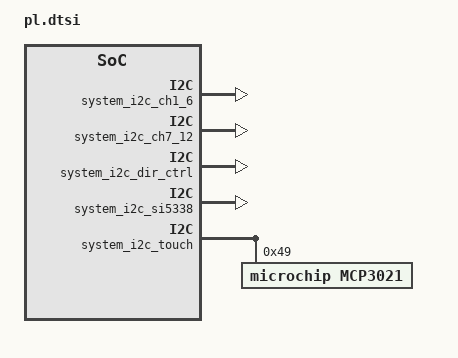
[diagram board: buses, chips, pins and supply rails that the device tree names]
/ {
	amba_pl: amba_pl@0 {
		#address-cells = <2>;
		#size-cells = <2>;
		compatible = "simple-bus";
		ranges ;
		misc_clk_0: misc_clk_0 {
			#clock-cells = <0>;
			clock-frequency = <299997000>;
			compatible = "fixed-clock";
		};
		system_i2c_ch1_6: i2c@80410000 {
			#address-cells = <1>;
			#size-cells = <0>;
			clock-names = "s_axi_aclk";
			clocks = <&misc_clk_0>;
			compatible = "xlnx,axi-iic-2.1", "xlnx,xps-iic-2.00.a";
			interrupt-names = "iic2intc_irpt";
			interrupt-parent = <&gic>;
			interrupts = <0 109 4>;
			reg = <0x0 0x80410000 0x0 0x10000>;
		};
		system_i2c_ch7_12: i2c@80420000 {
			#address-cells = <1>;
			#size-cells = <0>;
			clock-names = "s_axi_aclk";
			clocks = <&misc_clk_0>;
			compatible = "xlnx,axi-iic-2.1", "xlnx,xps-iic-2.00.a";
			interrupt-names = "iic2intc_irpt";
			interrupt-parent = <&gic>;
			interrupts = <0 110 4>;
			reg = <0x0 0x80420000 0x0 0x10000>;
		};
		system_i2c_dir_ctrl: i2c@80430000 {
			#address-cells = <1>;
			#size-cells = <0>;
			clock-names = "s_axi_aclk";
			clocks = <&misc_clk_0>;
			compatible = "xlnx,axi-iic-2.1", "xlnx,xps-iic-2.00.a";
			interrupt-names = "iic2intc_irpt";
			interrupt-parent = <&gic>;
			interrupts = <0 108 4>;
			reg = <0x0 0x80430000 0x0 0x10000>;
		};
		system_i2c_si5338: i2c@80440000 {
			#address-cells = <1>;
			#size-cells = <0>;
			clock-names = "s_axi_aclk";
			clocks = <&misc_clk_0>;
			compatible = "xlnx,axi-iic-2.1", "xlnx,xps-iic-2.00.a";
			interrupt-names = "iic2intc_irpt";
			interrupt-parent = <&gic>;
			interrupts = <0 111 4>;
			reg = <0x0 0x80440000 0x0 0x10000>;
		};
		system_i2c_touch: i2c@802B0000 {
			#address-cells = <1>;
			#size-cells = <0>;
			clock-names = "s_axi_aclk";
			clocks = <&misc_clk_0>;
			compatible = "xlnx,axi-iic-2.1", "xlnx,xps-iic-2.00.a";
			interrupt-names = "iic2intc_irpt";
			interrupt-parent = <&gic>;
			interrupts = <0 106 4>;
			reg = <0x0 0x802B0000 0x0 0x10000>;
			mcp3021@49 {
				compatible = "microchip,mcp3021";
				reg = <0x49>;
				reference-voltage-microvolt = <3300000>; /* 3.3 V */
		        };
			
		};
	};
};
